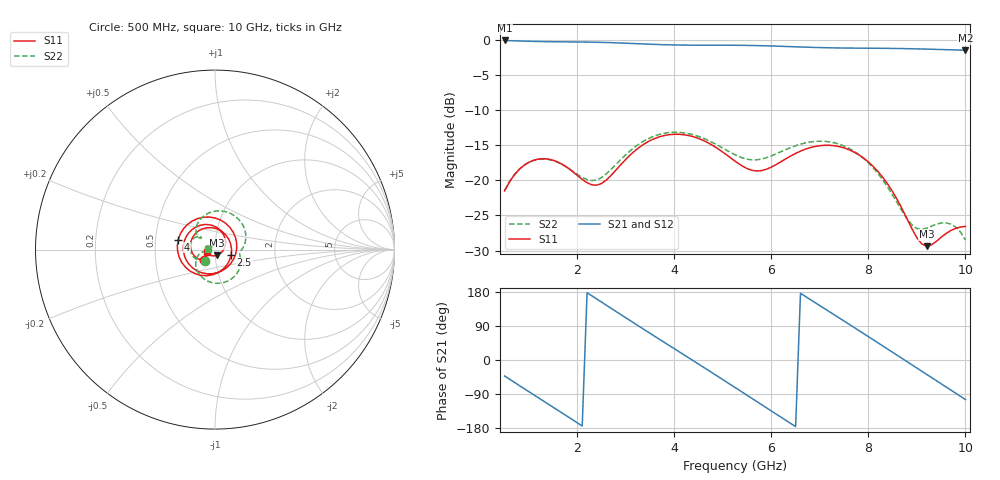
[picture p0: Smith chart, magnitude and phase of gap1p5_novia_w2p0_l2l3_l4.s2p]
! Touchstone file exported from HFSS 3D Layout Design 2026.1.0
!  File:  D:/Work/ADS/HFSS_VERDICT/hfss_sma_connector_cpw.aedt
!  Generated:  07:16:29 PM Aug  5, 2026
!  Design:  SINGLE_END_SMA_CPW_30MM
!  Project:  hfss_sma_connector_cpw
! Variables:
!  $sma_Base_D = 6.25mm
!  $sma_Base_L = 8mm
!  $sma_Feet_L = 4mm
!  $sma_Feet_W = 1mm
!  $sma_Front_L = 1.5mm
!  $sma_Front_W = 6.5mm
!  $sma_Hole_D = 1.25mm
!  $sma_PTFE_D = 4.2mm
!  $sma_Pin_D = 0.95mm
!  $sma_Pin_P = 1.7mm
# GHz S MA R 50.000000
! Terminal data exported
! Port[1] = Port1
! Port[2] = S1_1_Pin_T1
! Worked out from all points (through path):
!   96 points, 500 MHz to 10 GHz, reference 50 ohm
!   highest |S21| = -0.12 dB at 500 MHz (marker M1); lowest = -1.5 dB at 10 GHz (marker M2)
!   group delay of S21, straight-line fit = 228 ps
!   lowest |S11| = -29.4 dB at 9.2 GHz (marker M3), VSWR 1.07, Z = 51.1 - j3.26 ohm
!   |S11| at or under -10 dB: start of sweep to end of sweep
!   |S22| runs from -28.5 to -13.2 dB; largest |S21 - S12| = 1.6e-14
!   S11 on the Smith chart (normalised r, x): 500 MHz: 0.88, -0.11; 2.5 GHz: 1.20, -0.07; 4 GHz: 0.66, +0.08; 10 GHz: 0.91, -0.02
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0.5  0.084 -135.0  0.9863 -42.2  0.9863 -42.2  0.08446 -131.1
0.9  0.1278 -171.1  0.9755 -75.3  0.9755 -75.3  0.1279 -162.2
1.3  0.1425 151.4  0.968 -108.2  0.968 -108.2  0.1419 169.9
1.7  0.1292 109.1  0.9642 -141.1  0.9642 -141.1  0.1289 147.7
2.1  0.1015 54.4  0.9615 -174.1  0.9615 -174.1  0.1049 138.1
2.5  0.09499 -18.4  0.9558 152.7  0.9558 152.7  0.1047 142.9
3.1  0.1525 -107.4  0.9395 103.0  0.9395 103.0  0.1635 129.4
3.7  0.2041 -168.1  0.9222 54.0  0.9222 54.0  0.2124 93.0
4  0.2124 164.7  0.9166 29.7  0.9166 29.7  0.2195 72.6
4.6  0.1917 109.8  0.9127 -19.1  0.9127 -19.1  0.1989 33.0
5.3  0.1331 31.5  0.9113 -76.6  0.9113 -76.6  0.1491 0.0
5.7  0.1165 -27.0  0.9067 -109.7  0.9067 -109.7  0.1399 -9.7
6.2  0.1357 -97.1  0.8962 -151.1  0.8962 -151.1  0.1598 -26.3
6.5  0.1553 -130.8  0.8887 -175.7  0.8887 -175.7  0.1761 -42.2
6.9  0.174 -169.2  0.8797 151.6  0.8797 151.6  0.189 -67.8
7.3  0.176 155.9  0.8734 119.0  0.8734 119.0  0.1847 -95.8
7.7  0.159 122.0  0.87 86.3  0.87 86.3  0.1613 -123.9
8.1  0.1254 87.0  0.8682 53.4  0.8682 53.4  0.1226 -149.7
8.5  0.08294 47.5  0.8656 20.3  0.8656 20.3  0.07855 -167.6
9.2  0.03402 -69.7  0.8558 -37.8  0.8558 -37.8  0.04566 -153.1
9.6  0.04184 -134.4  0.8483 -71.0  0.8483 -71.0  0.04985 -161.1
10  0.04705 -165.0  0.841 -104.2  0.841 -104.2  0.03767 171.2
